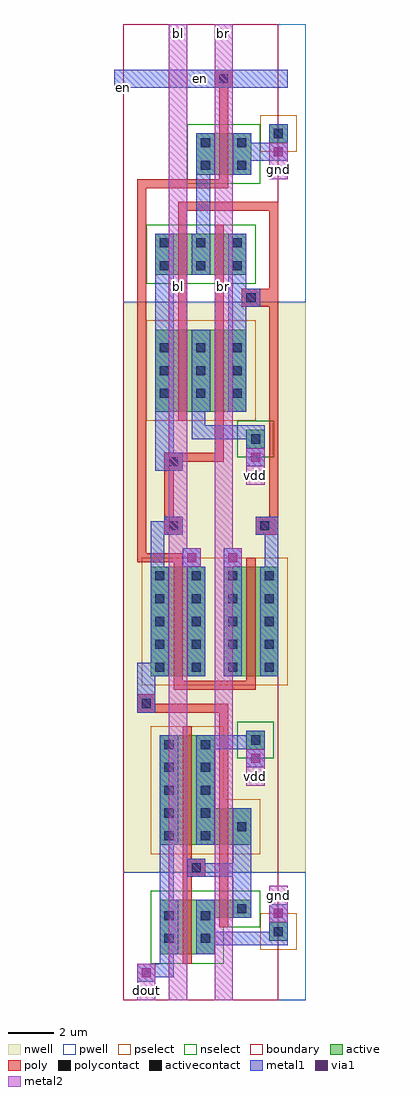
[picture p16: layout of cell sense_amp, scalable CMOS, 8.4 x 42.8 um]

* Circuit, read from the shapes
.subckt sense_amp bl br dout en gnd vdd
M1 n1 n2 n3 gnd nfet w=1.8u l=0.4u
M2 gnd n4 dout gnd nfet w=2.4u l=0.4u
M3 n2 n3 n1 gnd nfet w=1.8u l=0.4u
M4 n4 n3 gnd gnd nfet w=0.8u l=0.4u
M5 gnd en n1 gnd nfet w=1.8u l=0.4u
M6 bl en n3 vdd pfet w=4.8u l=0.4u
M7 vdd n2 n3 vdd pfet w=3.6u l=0.4u
M8 vdd n4 dout vdd pfet w=4.8u l=0.4u
M9 n2 n3 vdd vdd pfet w=3.6u l=0.4u
M10 n4 n3 vdd vdd pfet w=1.6u l=0.4u
M11 n2 en br vdd pfet w=4.8u l=0.4u
.ends

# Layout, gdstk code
import gdstk
lib = gdstk.Library(unit=1e-6, precision=1e-09)
def R(c, l, rs):  # rectangles x0, y0, x1, y1
    for r in rs: c.add(gdstk.rectangle(r[:2], r[2:], *l))
def A(c, l, x, y, w, h, nx, ny, dx, dy):  # array of equal rectangles
    R(c, l, [(x+i*dx, y+j*dy, x+i*dx+w, y+j*dy+h) for i in range(nx) for j in range(ny)])
pwell = (41, 0)
nwell = (42, 0)
active = (43, 0)
pselect = (44, 0)
nselect = (45, 0)
poly = (46, 0)
polycontact = (47, 0)
activecontact = (48, 0)
metal1 = (49, 0)
via1 = (50, 0)
metal2 = (51, 0)
boundary = (63, 0)

sense_amp = lib.new_cell('sense_amp')
R(sense_amp, pwell, [(0,0,8,5.6), (0,30.6,8,42.8)])
R(sense_amp, nwell, [(0,5.6,8,30.6)])
R(sense_amp, active, [(1.6,2,4,3.6), (6.4,2.6,7.2,3.4), (1.6,3.6,5.6,4.4), (1.6,6.8,5.6,8.4), (1.6,8.4,4,11.6), (5.4,11,6.2,11.8), (1.2,14.2,3.6,19), (4.4,14.2,6.8,19), (5.4,24.2,6.2,25), (1.4,25.8,5.4,29.4), (1.4,31.8,5.4,33.6), (3.2,36.2,5.6,38), (6.4,37.6,7.2,38.4)])
R(sense_amp, pselect, [(6,2.2,7.6,3.8), (1.2,6.4,6,8.8), (1.2,8.8,4.4,12), (0.8,13.8,7.2,19.4), (1,25.4,5.8,29.8), (6,37.2,7.6,38.8)])
R(sense_amp, nselect, [(1.2,1.6,4.4,3.2), (1.2,3.2,6,4.8), (5,10.6,6.6,12.2), (5,23.8,6.6,25.4), (1,31.4,5.8,34), (2.8,35.8,6,38.4)])
R(sense_amp, poly, [(2.6,1.6,3,5.4), (4.2,3.2,4.6,12.6), (2.6,5.4,3.6,6.2), (2.6,6.2,3,12), (0.6,12.6,4.6,13), (0.6,13,1.4,13.4), (2.2,13.6,5.8,14), (2.2,14,2.6,19.2), (5.4,14,5.8,19.4), (0.6,19.2,2.6,19.6), (0.6,19.6,1,35.6), (1.8,20.4,2.6,21.2), (5.8,20.4,6.8,21.2), (1.8,21.2,2.2,23.2), (6.4,21.2,6.8,30.4), (1.8,23.2,2.6,23.6), (1.8,23.6,4.4,24), (4,24,4.4,34), (2.4,25.4,2.8,34.6), (5.2,30.4,6.8,31.2), (6.4,31.2,6.8,34.6), (2.4,34.6,6.8,35), (0.6,35.6,4.6,36), (4.2,36,4.6,40), (4,40,4.8,40.8)])
R(sense_amp, polycontact, [(3,5.6,3.4,6), (0.8,12.8,1.2,13.2), (2,20.6,2.4,21), (6,20.6,6.4,21), (2,23.4,2.4,23.8), (5.4,30.6,5.8,31), (4.2,40.2,4.6,40.6)])
A(sense_amp, activecontact, 1.8, 7, 0.4, 0.4, 1, 5, 0, 1)
A(sense_amp, activecontact, 3.4, 7, 0.4, 0.4, 1, 5, 0, 1)
A(sense_amp, activecontact, 1.4, 14.4, 0.4, 0.4, 4, 5, 1.6, 1)
A(sense_amp, activecontact, 1.6, 26.4, 0.4, 0.4, 3, 3, 1.6, 1)
A(sense_amp, activecontact, 1.6, 32, 0.4, 0.4, 3, 2, 1.6, 1)
R(sense_amp, activecontact, [(1.8,2.5,2.2,2.9), (3.4,2.5,3.8,2.9), (6.6,2.8,7,3.2), (1.8,3.5,2.2,3.9), (3.4,3.5,3.8,3.9), (5,3.8,5.4,4.2), (5,7.4,5.4,7.8), (5.6,11.2,6,11.6), (5.6,24.4,6,24.8), (3.4,36.4,3.8,36.8), (5,36.4,5.4,36.8), (3.4,37.4,3.8,37.8), (5,37.4,5.4,37.8), (6.6,37.8,7,38.2)])
R(sense_amp, metal1, [(0.6,0.8,1.4,1), (0.6,1,2.2,1.6), (1.6,1.6,2.2,2), (1.6,2,2.4,4.4), (3.2,2,4,2.4), (3.2,2.4,7.2,3), (3.2,3,4,4.4), (6.4,3,7.2,4.2), (4.8,3.6,5.6,5.4), (1.6,4.4,2.2,6.8), (2.8,5.4,5.6,6), (2.8,6,3.6,6.2), (4.8,6,5.6,8.4), (1.6,6.8,2.4,11.6), (3.2,6.8,4,11), (5.4,10.2,6.2,11), (3.2,11,6.2,11.6), (5.4,11.6,6.2,11.8), (0.6,12.6,1.4,14.2), (0.6,14.2,2,14.8), (2.8,14.2,3.6,19), (4.4,14.2,5.2,19.8), (6,14.2,6.8,19), (1.2,14.8,2,19), (1.2,19,1.8,20.4), (2.6,19,3.4,19.8), (6.2,19,6.8,20.4), (1.2,20.4,2.6,21), (5.8,20.4,6.8,21.2), (1.8,21,2.6,21.2), (1.4,23.2,2.6,24), (5.4,23.4,6.2,24.6), (1.4,24,2.2,33.6), (3,24.6,6.2,25.2), (3,25.2,3.6,25.8), (3,25.8,3.8,29.4), (4.6,25.8,5.4,30.4), (4.6,30.4,6,31.2), (4.6,31.2,5.4,33.6), (3,31.8,3.8,33.6), (3.2,33.6,3.8,36.2), (3.2,36.2,4,38), (4.8,36.2,5.6,36.8), (4.8,36.8,7.2,37.6), (4.8,37.6,5.6,38), (6.4,37.6,7.2,38.4), (-0.4,40,7.2,40.8), (-0.4,40,7.2,40.8)])
R(sense_amp, via1, [(0.8,1,1.2,1.4), (6.6,3.6,7,4), (5.6,10.4,6,10.8), (2.8,19.2,3.2,19.6), (4.6,19.2,5,19.6), (5.6,23.6,6,24), (6.6,37,7,37.4)])
R(sense_amp, metal2, [(0.6,0,1.4,1.6), (0.6,0,1.4,1.6), (2,0,2.8,19), (4,0,4.8,19), (6.4,3.4,7.2,5), (6.4,3.4,7.2,5), (5.4,9.4,6.2,11), (5.4,9.4,6.2,11), (2,19,3.4,19.8), (4,19,5.2,19.8), (2,19.8,2.8,42.8), (2,19.8,2.8,42.8), (4,19.8,4.8,42.8), (4,19.8,4.8,42.8), (5.4,22.6,6.2,24.2), (5.4,22.6,6.2,24.2), (6.4,36,7.2,37.6), (6.4,36,7.2,37.6)])
R(sense_amp, boundary, [(0,0,6.8,42.8)])
sense_amp.add(gdstk.Label('dout', (1,0.4), layer=51, texttype=0))
sense_amp.add(gdstk.Label('vdd', (5.8,9.8), layer=51, texttype=0))
sense_amp.add(gdstk.Label('br', (4.4,42.4), layer=51, texttype=0))
sense_amp.add(gdstk.Label('bl', (2.4,42.4), layer=51, texttype=0))
sense_amp.add(gdstk.Label('vdd', (5.8,23), layer=51, texttype=0))
sense_amp.add(gdstk.Label('gnd', (6.8,36.4), layer=51, texttype=0))
sense_amp.add(gdstk.Label('en', (0,40), layer=49, texttype=0))
sense_amp.add(gdstk.Label('gnd', (6.8,4.6), layer=51, texttype=0))
sense_amp.add(gdstk.Label('bl', (2.4,31.3), layer=51, texttype=0))
sense_amp.add(gdstk.Label('br', (4.4,31.3), layer=51, texttype=0))
sense_amp.add(gdstk.Label('dout', (1,0.8), layer=51, texttype=0))
sense_amp.add(gdstk.Label('en', (3.4,40.4), layer=49, texttype=0))
sense_amp.add(gdstk.Label('vdd', (5.8,10.2), layer=51, texttype=0))
sense_amp.add(gdstk.Label('vdd', (5.8,23.4), layer=51, texttype=0))
sense_amp.add(gdstk.Label('gnd', (6.8,36.8), layer=51, texttype=0))
sense_amp.add(gdstk.Label('gnd', (6.8,4.2), layer=51, texttype=0))

lib.write_gds('sense_amp.gds')
